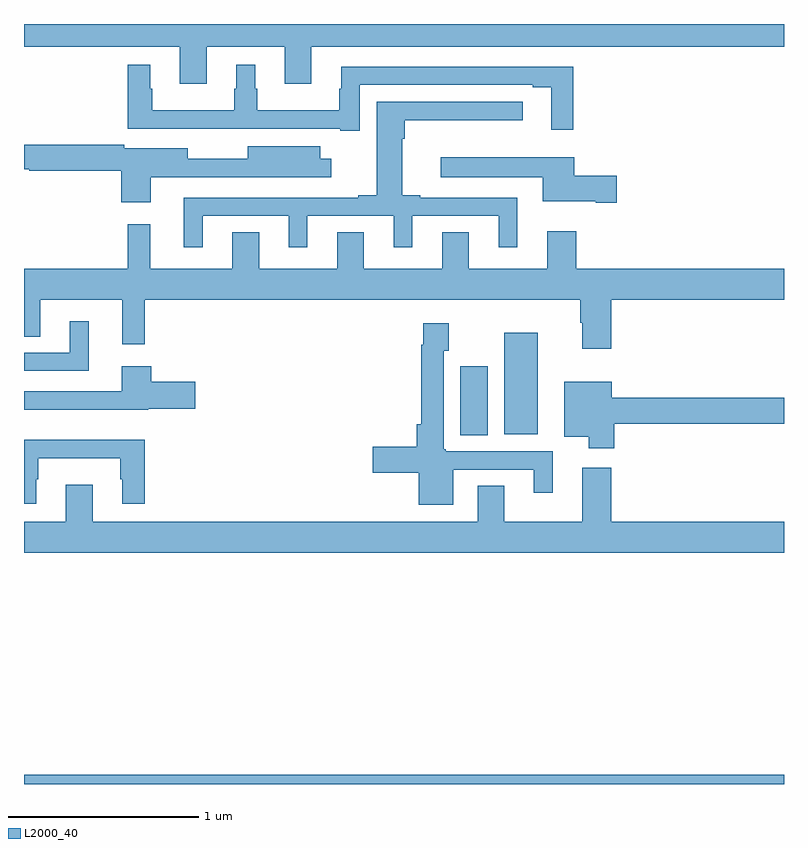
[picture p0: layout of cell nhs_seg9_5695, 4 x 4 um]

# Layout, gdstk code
import gdstk
lib = gdstk.Library(unit=1e-6, precision=1e-09)
def R(c, l, rs):  # rectangles x0, y0, x1, y1
    for r in rs: c.add(gdstk.rectangle(r[:2], r[2:], *l))
def P(c, l, *ps):  # polygons
    for p in ps: c.add(gdstk.Polygon(p, *l))
L2000_40 = (2000, 40)

nhs_seg9_5695 = lib.new_cell('nhs_seg9_5695')
R(nhs_seg9_5695, L2000_40, [(441,1232.5,445,1232.548), (443.297,1234.336,443.44,1234.699), (443.528,1234.34,443.704,1234.876)])
P(nhs_seg9_5695, L2000_40, [(441.961,1236.38),(442.373,1236.38),(442.373,1236.186),(442.513,1236.186),(442.513,1236.38),(445,1236.38),(445,1236.5),(441,1236.5),(441,1236.38),(441.821,1236.38),(441.821,1236.186),(441.961,1236.186)],
  [(442.767,1236.18),(443.678,1236.18),(443.678,1236.168),(443.774,1236.168),(443.774,1235.943),(443.891,1235.943),(443.891,1236.276),(442.67,1236.276),(442.67,1236.158),(442.659,1236.158),(442.659,1236.046),(442.228,1236.046),(442.228,1236.158),(442.216,1236.158),(442.216,1236.286),(442.118,1236.286),(442.118,1236.158),(442.107,1236.158),(442.107,1236.046),(441.676,1236.046),(441.676,1236.158),(441.664,1236.158),(441.664,1236.286),(441.547,1236.286),(441.547,1235.949),(442.664,1235.949),(442.664,1235.937),(442.767,1235.937)],
  [(441.94,1235.49),(442.394,1235.49),(442.394,1235.325),(442.492,1235.325),(442.492,1235.49),(442.946,1235.49),(442.946,1235.325),(443.044,1235.325),(443.044,1235.49),(443.498,1235.49),(443.498,1235.325),(443.596,1235.325),(443.596,1235.586),(443.086,1235.586),(443.086,1235.599),(442.99,1235.599),(442.99,1235.897),(443.003,1235.897),(443.003,1235.993),(443.626,1235.993),(443.626,1236.09),(442.856,1236.09),(442.856,1235.599),(442.76,1235.599),(442.76,1235.586),(441.842,1235.586),(441.842,1235.325),(441.94,1235.325)],
  [(441.667,1235.694),(442.282,1235.694),(442.282,1235.693),(442.618,1235.693),(442.618,1235.791),(442.558,1235.791),(442.558,1235.857),(442.178,1235.857),(442.178,1235.791),(441.862,1235.791),(441.862,1235.845),(441.528,1235.845),(441.528,1235.864),(441,1235.864),(441,1235.736),(441.028,1235.736),(441.028,1235.728),(441.512,1235.728),(441.512,1235.562),(441.667,1235.562)],
  [(444.121,1235.702),(443.896,1235.702),(443.896,1235.8),(443.193,1235.8),(443.193,1235.693),(443.729,1235.693),(443.729,1235.567),(444.008,1235.567),(444.008,1235.56),(444.121,1235.56)],
  [(441.547,1235.212),(441,1235.212),(441,1234.855),(441.085,1234.855),(441.085,1235.048),(441.518,1235.048),(441.518,1234.815),(441.635,1234.815),(441.635,1235.048),(443.927,1235.048),(443.927,1234.928),(443.939,1234.928),(443.939,1234.791),(444.092,1234.791),(444.092,1235.048),(445,1235.048),(445,1235.212),(443.906,1235.212),(443.906,1235.41),(443.753,1235.41),(443.753,1235.212),(443.341,1235.212),(443.341,1235.405),(443.201,1235.405),(443.201,1235.212),(442.789,1235.212),(442.789,1235.405),(442.649,1235.405),(442.649,1235.212),(442.237,1235.212),(442.237,1235.405),(442.097,1235.405),(442.097,1235.212),(441.665,1235.212),(441.665,1235.446),(441.547,1235.446)],
  [(441.341,1234.936),(441.242,1234.936),(441.242,1234.77),(441,1234.77),(441,1234.674),(441.341,1234.674)],
  [(443.26,1234.155),(443.684,1234.155),(443.684,1234.032),(443.782,1234.032),(443.782,1234.251),(443.22,1234.251),(443.22,1234.261),(443.208,1234.261),(443.208,1234.779),(443.235,1234.779),(443.235,1234.924),(443.1,1234.924),(443.1,1234.811),(443.092,1234.811),(443.092,1234.393),(443.066,1234.393),(443.066,1234.274),(442.836,1234.274),(442.836,1234.139),(443.078,1234.139),(443.078,1233.971),(443.26,1233.971)],
  [(441.654,1234.475),(441.901,1234.475),(441.901,1234.617),(441.671,1234.617),(441.671,1234.699),(441.515,1234.699),(441.515,1234.566),(441,1234.566),(441,1234.469),(441.654,1234.469)],
  [(444.107,1234.396),(445,1234.396),(445,1234.532),(444.094,1234.532),(444.094,1234.618),(443.843,1234.618),(443.843,1234.328),(443.972,1234.328),(443.972,1234.266),(444.107,1234.266)],
  [(441.064,1234.103),(441.076,1234.103),(441.076,1234.214),(441.507,1234.214),(441.507,1234.103),(441.518,1234.103),(441.518,1233.975),(441.635,1233.975),(441.635,1234.312),(441,1234.312),(441,1233.975),(441.064,1233.975)],
  [(445,1233.88),(444.092,1233.88),(444.092,1234.165),(443.939,1234.165),(443.939,1233.88),(443.527,1233.88),(443.527,1234.07),(443.387,1234.07),(443.387,1233.88),(441.361,1233.88),(441.361,1234.075),(441.221,1234.075),(441.221,1233.88),(441,1233.88),(441,1233.716),(445,1233.716)])

lib.write_gds('nhs_seg9_5695.gds')
